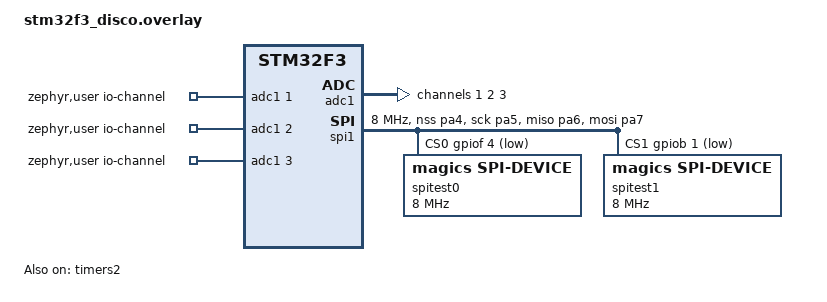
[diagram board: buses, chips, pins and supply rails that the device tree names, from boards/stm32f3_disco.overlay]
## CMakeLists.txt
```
cmake_minimum_required(VERSION 3.13.0)

set(BOARD stm32f3_disco)
find_package(Zephyr REQUIRED HINTS $ENV{ZEPHYR_BASE})
project(app_spi_adc_timer)

FILE(GLOB app_sources src/*.c)
target_sources(app PRIVATE ${app_sources})
```

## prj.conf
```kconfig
# Copyright (c) 2021 Nordic Semiconductor ASA
# SPDX-License-Identifier: Apache-2.0
#
# This file contains selected Kconfig options for the application.
CONFIG_BOOT_BANNER=y
CONFIG_GPIO=y
CONFIG_ADC=y

CONFIG_COUNTER=y
CONFIG_COUNTER_INIT_PRIORITY=50
CONFIG_COUNTER_TIMER_STM32=y
CONFIG_COUNTER_RTC_STM32=n

CONFIG_SPI=y
CONFIG_SPI_STM32=y
CONFIG_SPI_ASYNC=y
```

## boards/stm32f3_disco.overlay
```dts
&gpioc {
	status = "okay";
};

/{
	zephyr,user {
		io-channels = <&adc1 1>, <&adc1 2>, <&adc1 3>;
	};
};

&adc1 {
	#address-cells = <1>;
	#size-cells = <0>;

	channel@1 {
		reg = <1>;
		zephyr,gain = "ADC_GAIN_1";
		zephyr,reference = "ADC_REF_INTERNAL";
		zephyr,acquisition-time = <ADC_ACQ_TIME_DEFAULT>;
		zephyr,resolution = <12>;
	};

	channel@2 {
		reg = <2>;
		zephyr,gain = "ADC_GAIN_1";
		zephyr,reference = "ADC_REF_INTERNAL";
		zephyr,acquisition-time = <ADC_ACQ_TIME_DEFAULT>;
		zephyr,resolution = <12>;
	};

	channel@3 {
		reg = <3>;
		zephyr,gain = "ADC_GAIN_1";
		zephyr,reference = "ADC_REF_INTERNAL";
		zephyr,acquisition-time = <ADC_ACQ_TIME_DEFAULT>;
		zephyr,resolution = <12>;
	};
	
};

&spi1 {
	compatible = "st,stm32-spi";
	status = "okay";
	pinctrl-0 = <&spi1_nss_pa4 &spi1_sck_pa5
			&spi1_miso_pa6 &spi1_mosi_pa7>;
	pinctrl-names = "default";
	cs-gpios = <&gpiof 4 (GPIO_ACTIVE_LOW | GPIO_PULL_UP)>, 
				<&gpiob 1 (GPIO_ACTIVE_LOW | GPIO_PULL_UP)>;
	clock-frequency = <8000000>;

	spitest0: spideva@0 {
		compatible = "magics,spi-device";
		status = "okay";
		reg = <0>;
		spi-max-frequency = <8000000>;
	};

	spitest1: spidevb@1 {
		compatible = "magics,spi-device";
		status = "okay";
		reg = <1>;
		spi-max-frequency = <8000000>;
   };
};

&timers2 {
	status = "okay";
	counters2: counter {
		compatible = "st,stm32-counter";
		status = "okay";
		label = "COUNTER_2";
	};
};


&pll {
	prediv = <1>;
	mul = <9>;
	clocks = <&clk_hse>;
	status = "okay";
};

&rcc {
	clocks = <&pll>;
	clock-frequency = <DT_FREQ_M(72)>;
	ahb-prescaler = <1>;
	apb1-prescaler = <2>;
	apb2-prescaler = <1>;
};
```

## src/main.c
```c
#include <stdio.h>
#include <stdlib.h>
#include <zephyr/kernel.h>
#include <zephyr/drivers/gpio.h>
#include <zephyr/drivers/spi.h>
#include <zephyr/devicetree.h>

#include "disco_spi.h"
#include "disco_adc.h"

// int main() {

//     setup_adc_sequence();

//     int err=0;
//     uint32_t adc_buffer[2] = {0, 0};

//     while (true) {
//         err |= write_spi0();
//         err |= write_spi1();
//         err |= read_adc_sequence(adc_buffer);
//         printf("%d, %d\n", (uint16_t)adc_buffer[0], (uint16_t)adc_buffer[1]);
//         k_sleep(K_MSEC(10));
//     }

//     return 0;
// }

#define INTERVAL 50

struct k_timer sampling_timer;

volatile bool flag_sample = false;
void sampling_handler(struct k_timer *dummy)
{
    flag_sample = true;
}

int main()
{
    setup_adc_sequence();
    int err = 0;
    uint32_t adc_buffer[2] = {0, 0};

    k_timer_init(&sampling_timer, sampling_handler, NULL);
    k_timer_start(&sampling_timer, K_USEC(INTERVAL), K_USEC(INTERVAL));

    while(true)
    {
        while(!flag_sample){};

        flag_sample = false;
        err |= write_spi0();
        err |= write_spi1();
        err |= read_adc_sequence(adc_buffer);
        printf("%d, %d\n", (uint16_t)adc_buffer[0], (uint16_t)adc_buffer[1]);
        
    }

    return 0;
}
```

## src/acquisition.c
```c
#include <stdio.h>
#include <stdlib.h>
#include <zephyr/kernel.h>
#include <zephyr/drivers/gpio.h>
#include <zephyr/drivers/spi.h>
#include <zephyr/devicetree.h>

#include "disco_spi.h"
#include "disco_adc.h"

#include "acquisition.h"
#include "demux.h"

struct k_timer sampling_timer;
uint32_t adc_buffer[3] = {0, 0, 0};

volatile bool flag_sample = false;
void sampling_handler(struct k_timer *dummy)
{
    flag_sample = true;
}

int setup_acquisition(void)
{
    setup_adc_sequence();

    k_timer_init(&sampling_timer, sampling_handler, NULL);
    k_timer_start(&sampling_timer, K_USEC(INTERVAL), K_USEC(INTERVAL));
    return 0;
}

int do_acquisition_work(void)
{
    if(!flag_sample)
    {
        return 0;
    }

    flag_sample = false;
    int err = 0;
    float_t dl_fpc = 0.;
    // err |= write_spi0();
    err |= write_spi1();
    err |= read_adc_sequence(adc_buffer);
    err |= demux(adc_buffer[0], adc_buffer[1], adc_buffer[2], &dl_fpc);
    printf("%d\n", (uint16_t)(dl_fpc*1.e9));
    // printf("%d, %d, %d\n", (uint16_t)adc_buffer[0], (uint16_t)adc_buffer[1], (uint16_t)adc_buffer[2]);
    return 0;
}
```

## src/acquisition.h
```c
#include <stdio.h>
#include <stdlib.h>
#include <zephyr/kernel.h>
#include <zephyr/drivers/gpio.h>
#include <zephyr/drivers/spi.h>
#include <zephyr/devicetree.h>

#include "disco_spi.h"
#include "disco_adc.h"
#include "demux.h"

#define INTERVAL 50

int setup_acquisition(void);
int do_acquisition_work(void);
```

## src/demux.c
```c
#include <math.h>
#include <stdio.h>
#include <stdint.h>
#include <stdlib.h>
#include <string.h>

#include "demux.h"

static volatile float_t gain0 = 1.;
static volatile float_t offset0 = 0.;

static volatile float_t gain1 = 1.;
static volatile float_t offset1 = 0.;

static volatile float_t gain2 = 1.;

static volatile float_t z0 = 0.;
static volatile float_t z_prev = 0.;

static volatile float_t z1 = 0.;
static volatile float_t z1_prev = 0.;

static volatile float_t z2 = 0.;
static volatile float_t z2_prev = 0.;
static volatile float_t z2_z0 = 0.;

static volatile float_t inv_tan = 0.;
static volatile float_t inv_sin = 0.;

int setup_demux()
{
    return 0;
}

int demux(uint32_t ch0_data, uint32_t ch1_data, uint32_t ch2_data, float_t *out)
{
    float_t compensation_ratio = gain2/(float_t)ch2_data;
    float_t A0 = (compensation_ratio*(float_t)ch0_data - offset0)/gain0;
    float_t A1 = (compensation_ratio*(float_t)ch1_data - offset1)/gain1;
    float_t R = A0 / A1;
    z1 = atan(inv_tan - inv_sin*R);
    z2_z0 = atan(R*inv_sin - inv_tan);
    z2 = z2_z0 - z0;

    if(abs(z2_z0) > abs(z1))
    {
        z_prev += z1 - z1_prev;
    }

    else
    {
        z_prev += z2 - z2_prev;
    }
    
    *out = z_prev;
    z1_prev = z1;
    z2_prev = z2;

    return 0;
}
```

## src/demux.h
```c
#include <math.h>
#include <stdio.h>
#include <stdint.h>
#include <stdlib.h>
#include <string.h>

#define PI 3.14159265359

int setup_demux();
int demux(uint32_t ch0_data, uint32_t ch1_data, uint32_t ch2_data, float_t *out);
```

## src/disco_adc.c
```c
#include <inttypes.h>
#include <stddef.h>
#include <stdint.h>

#include <zephyr/device.h>
#include <zephyr/devicetree.h>
#include <zephyr/drivers/adc.h>
#include <zephyr/kernel.h>
#include <zephyr/sys/printk.h>
#include <zephyr/sys/util.h>

#include "disco_adc.h"

#if !DT_NODE_EXISTS(DT_PATH(zephyr_user)) || \
	!DT_NODE_HAS_PROP(DT_PATH(zephyr_user), io_channels)
#error "No suitable devicetree overlay specified"
#endif

#define DT_SPEC_AND_COMMA(node_id, prop, idx) \
	ADC_DT_SPEC_GET_BY_IDX(node_id, idx),

/* Data of ADC io-channels specified in devicetree. */
static const struct adc_dt_spec adc_channels[] = {
	DT_FOREACH_PROP_ELEM(DT_PATH(zephyr_user), io_channels,
			     DT_SPEC_AND_COMMA)
};

static uint16_t buf;
static struct adc_sequence sequence = {
    .buffer = &buf,
    /* buffer size in bytes, not number of samples */
    .buffer_size = sizeof(buf),
};

int setup_adc_sequence()
{
	int err = 0;

	/* Configure channels individually prior to sampling. */
	for (size_t i = 0U; i < ARRAY_SIZE(adc_channels); i++) 
    {
		while(!adc_is_ready_dt(&adc_channels[i]));
		err |= adc_channel_setup_dt(&adc_channels[i]);
	}

    return err;
}

int read_adc_sequence(uint32_t *data_buffer)
{
	int err = 0;

    for (size_t i = 0U; i < ARRAY_SIZE(adc_channels); i++) 
    {
        (void)adc_sequence_init_dt(&adc_channels[i], &sequence);
        err |= adc_read_dt(&adc_channels[i], &sequence);
        data_buffer[i] = (int32_t)((int16_t)buf);
    
    }
    
    return err;
}
```

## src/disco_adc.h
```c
#include <inttypes.h>
#include <stddef.h>
#include <stdint.h>

#include <zephyr/device.h>
#include <zephyr/devicetree.h>
#include <zephyr/drivers/adc.h>
#include <zephyr/kernel.h>
#include <zephyr/sys/printk.h>
#include <zephyr/sys/util.h>

int setup_adc_sequence(void);
int read_adc_sequence(uint32_t *data_buf);
```

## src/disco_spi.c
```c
#include <stdio.h>
#include <stdlib.h>
#include <zephyr/kernel.h>
#include <zephyr/drivers/spi.h>
#include <zephyr/device.h>
#include <zephyr/drivers/gpio.h>

#include "disco_spi.h"

struct device *const spi_dev = DEVICE_DT_GET(SPI_DEV_NODE);

struct spi_config spi_dev_cfg0 = {
	.operation = SPI_OP_MODE_MASTER | SPI_WORD_SET(8) |
				 SPI_TRANSFER_MSB,
	.frequency = 8000000,
	.cs = {
        .gpio = SPI_CS_GPIOS_DT_SPEC_GET(SPI_CS0),
        .delay = 0,
	},
};

struct spi_config spi_dev_cfg1 = {
	.operation = SPI_OP_MODE_MASTER | SPI_WORD_SET(8) |
				 SPI_TRANSFER_MSB,
	.frequency = 8000000,
	.cs = {
        .gpio = SPI_CS_GPIOS_DT_SPEC_GET(SPI_CS1),
        .delay = 0,
	},
};

static struct spi_buf bufs[] = {
        {
                .buf = (uint8_t *)"Hello, Zephyr",
                .len = 13
        },
};

static struct spi_buf_set tx = {
        .buffers =  bufs,
        .count = 1
};

int write_spi0(void)
{
    int err = 0;
    err |= spi_write(spi_dev, &spi_dev_cfg0, &tx);
    return err;
}

int write_spi1(void)
{
    int err = 0;
    err |= spi_write(spi_dev, &spi_dev_cfg1, &tx);
    return err;
}
```

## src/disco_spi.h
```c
#include <stdio.h>
#include <stdlib.h>
#include <zephyr/kernel.h>
#include <zephyr/drivers/spi.h>
#include <zephyr/device.h>
#include <zephyr/drivers/gpio.h>

#define SPI_DEV_NODE DT_NODELABEL(spi1)
#define SPI_CS0 DT_NODELABEL(spitest0)
#define SPI_CS1 DT_NODELABEL(spitest1)

int write_spi0(void);
int write_spi1(void);
```

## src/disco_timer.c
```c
#include <zephyr.h>
#include <zephyr/drivers/counter.h>

#include "disco_timer.h"

#define TIMER DT_NODELABEL(counters2)
const struct device *counter_dev = DEVICE_DT_GET(TIMER);

#define GEN_STACK_SIZE   500
#define GEN_PRIORITY     5

K_THREAD_DEFINE(gen_tid, GEN_STACK_SIZE,
                gen_thread, NULL, NULL, NULL,
                GEN_PRIORITY, 0, 0);

void gen_thread(void *arg1, void *arg2, void *arg3){
    ARG_UNUSED(arg1);
    ARG_UNUSED(arg2);
    ARG_UNUSED(arg3);

    if (!device_is_ready(counter_dev)) {
    printk("Error: Counter device %s is not ready\n",
          counter_dev->name);
      return;
    }

    while (1) {
		printk("Thread gen loopeando\n");
		k_sleep(K_MSEC(50));
	}
}
```

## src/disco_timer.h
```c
#include <zephyr.h>
#include <zephyr/drivers/counter.h>

void gen_thread(void *, void *, void *);
```

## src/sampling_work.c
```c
#include <zephyr/kernel.h>
#include <zephyr/drivers/gpio.h>
#include <zephyr/drivers/spi.h>
#include <zephyr/devicetree.h>

void sampling_timer_handler(struct k_timer *dummy)
{

}

void adc_work_handler(struct k_work *work)
{
    uint16_t adc_value;
    read_adc_value(&adc_value);
    fftInput[current_index] = (float32_t)adc_value;
    current_index = (current_index + 1) % FFT_SIZE;
}
```
